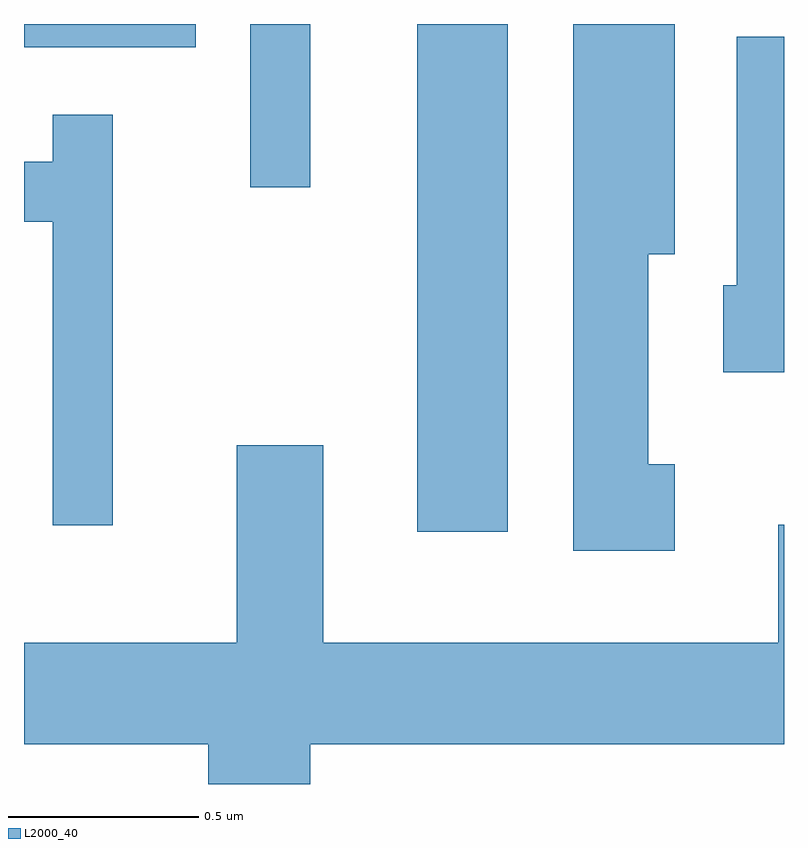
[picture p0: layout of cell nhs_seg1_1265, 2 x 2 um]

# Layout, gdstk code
import gdstk
lib = gdstk.Library(unit=1e-6, precision=1e-09)
def R(c, l, rs):  # rectangles x0, y0, x1, y1
    for r in rs: c.add(gdstk.rectangle(r[:2], r[2:], *l))
def P(c, l, *ps):  # polygons
    for p in ps: c.add(gdstk.Polygon(p, *l))
L2000_40 = (2000, 40)

nhs_seg1_1265 = lib.new_cell('nhs_seg1_1265')
R(nhs_seg1_1265, L2000_40, [(195.646,882.376,195.884,883.712), (195.206,883.283,195.364,883.712), (194.611,883.651,195.063,883.712)])
P(nhs_seg1_1265, L2000_40, [(196.324,882.554),(196.254,882.554),(196.254,883.106),(196.324,883.106),(196.324,883.712),(196.056,883.712),(196.056,882.326),(196.324,882.326)],
  [(196.611,883.679),(196.486,883.679),(196.486,883.024),(196.451,883.024),(196.451,882.796),(196.611,882.796)],
  [(194.844,883.473),(194.686,883.473),(194.686,883.349),(194.611,883.349),(194.611,883.191),(194.686,883.191),(194.686,882.393),(194.844,882.393)],
  [(195.364,881.816),(196.611,881.816),(196.611,882.394),(196.596,882.394),(196.596,882.084),(195.399,882.084),(195.399,882.604),(195.171,882.604),(195.171,882.084),(194.611,882.084),(194.611,881.816),(195.096,881.816),(195.096,881.712),(195.364,881.712)])

lib.write_gds('nhs_seg1_1265.gds')
